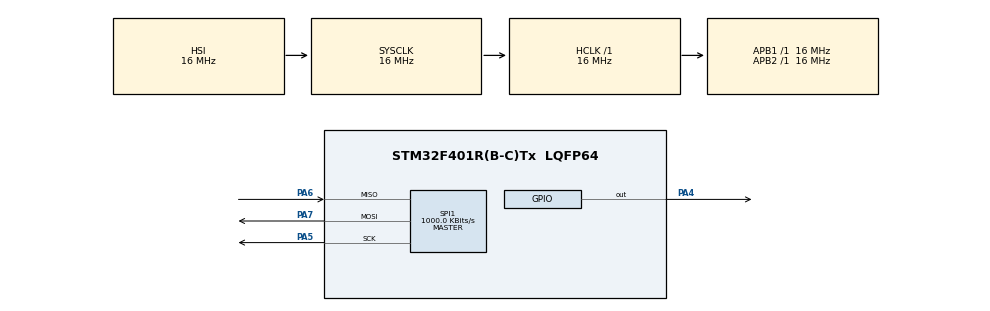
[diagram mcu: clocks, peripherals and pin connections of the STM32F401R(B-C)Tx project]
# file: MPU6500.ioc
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Mcu.Family=STM32F4
Mcu.Name=STM32F401R(B-C)Tx
Mcu.Package=LQFP64
NVIC.PriorityGroup=NVIC_PRIORITYGROUP_4
PA4.Signal=GPIO_Output
PA5.Mode=Full_Duplex_Master
PA5.Signal=SPI1_SCK
PA6.Mode=Full_Duplex_Master
PA6.Signal=SPI1_MISO
PA7.Mode=Full_Duplex_Master
PA7.Signal=SPI1_MOSI
ProjectManager.HeapSize=0x200
ProjectManager.StackSize=0x400
ProjectManager.TargetToolchain=STM32CubeIDE
RCC.AHBFreq_Value=16000000
RCC.APB1Freq_Value=16000000
RCC.APB2Freq_Value=16000000
RCC.CortexFreq_Value=16000000
RCC.HSE_VALUE=25000000
RCC.HSI_VALUE=16000000
RCC.LSE_VALUE=32768
RCC.SYSCLKFreq_VALUE=16000000
RCC.VCOOutputFreq_Value=192000000
SPI1.BaudRatePrescaler=SPI_BAUDRATEPRESCALER_16
SPI1.CalculateBaudRate=1000.0 KBits/s
SPI1.Direction=SPI_DIRECTION_2LINES
SPI1.Mode=SPI_MODE_MASTER
SPI1.VirtualType=VM_MASTER
board=custom

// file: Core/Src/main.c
/* USER CODE BEGIN Header */
/**
  ******************************************************************************
  * @file           : main.c
  * @brief          : Main program body
  ******************************************************************************
  * @attention
  *
  * Copyright (c) 2026 STMicroelectronics.
  * All rights reserved.
  *
  * This software is licensed under terms that can be found in the LICENSE file
  * in the root directory of this software component.
  * If no LICENSE file comes with this software, it is provided AS-IS.
  *
  ******************************************************************************
  */
/* USER CODE END Header */
#include "main.h"

/* USER CODE BEGIN Includes */
#include "MPU6500.h"
/* USER CODE END Includes */

SPI_HandleTypeDef hspi1;

/* USER CODE BEGIN PV */
float ax, ay, az;
float gx, gy, gz;
unsigned int flag=0;
uint8_t who;
/* USER CODE END PV */

void SystemClock_Config(void);
static void MX_GPIO_Init(void);
static void MX_SPI1_Init(void);

int main(void)
{

  /* MCU Configuration--------------------------------------------------------*/

  /* Reset of all peripherals, Initializes the Flash interface and the Systick. */
  HAL_Init();

  /* Configure the system clock */
  SystemClock_Config();

  /* Initialize all configured peripherals */
  MX_GPIO_Init();
  MX_SPI1_Init();
  /* USER CODE BEGIN 2 */
  HAL_GPIO_WritePin(GPIOA, GPIO_PIN_4, GPIO_PIN_SET); // CS HIGH
  HAL_Delay(100);

  MPU6500_Init();
  who = MPU6500_WhoAmI();

  if (who == 0x70)
  {
      flag = 1;   // ✅ sensor OK
  }
  else
  {
      flag = 0;   // ❌ error
  }

  HAL_Delay(500);

  /* USER CODE END 2 */

  /* Infinite loop */
  /* USER CODE BEGIN WHILE */
  while (1)
  {

	    MPU6500_Read_All(&ax, &ay, &az, &gx, &gy, &gz);

	    HAL_Delay(100);

    /* USER CODE END WHILE */

  }
}

void SystemClock_Config(void)
{
  RCC_OscInitTypeDef RCC_OscInitStruct = {0};
  RCC_ClkInitTypeDef RCC_ClkInitStruct = {0};

  /** Configure the main internal regulator output voltage
  */
  __HAL_RCC_PWR_CLK_ENABLE();
  __HAL_PWR_VOLTAGESCALING_CONFIG(PWR_REGULATOR_VOLTAGE_SCALE2);

  /** Initializes the RCC Oscillators according to the specified parameters
  * in the RCC_OscInitTypeDef structure.
  */
  RCC_OscInitStruct.OscillatorType = RCC_OSCILLATORTYPE_HSI;
  RCC_OscInitStruct.HSIState = RCC_HSI_ON;
  RCC_OscInitStruct.HSICalibrationValue = RCC_HSICALIBRATION_DEFAULT;
  RCC_OscInitStruct.PLL.PLLState = RCC_PLL_NONE;
  if (HAL_RCC_OscConfig(&RCC_OscInitStruct) != HAL_OK)
  {
    Error_Handler();
  }

  /** Initializes the CPU, AHB and APB buses clocks
  */
  RCC_ClkInitStruct.ClockType = RCC_CLOCKTYPE_HCLK|RCC_CLOCKTYPE_SYSCLK
                              |RCC_CLOCKTYPE_PCLK1|RCC_CLOCKTYPE_PCLK2;
  RCC_ClkInitStruct.SYSCLKSource = RCC_SYSCLKSOURCE_HSI;
  RCC_ClkInitStruct.AHBCLKDivider = RCC_SYSCLK_DIV1;
  RCC_ClkInitStruct.APB1CLKDivider = RCC_HCLK_DIV1;
  RCC_ClkInitStruct.APB2CLKDivider = RCC_HCLK_DIV1;

  if (HAL_RCC_ClockConfig(&RCC_ClkInitStruct, FLASH_LATENCY_0) != HAL_OK)
  {
    Error_Handler();
  }
}

static void MX_SPI1_Init(void)
{

  /* SPI1 parameter configuration*/
  hspi1.Instance = SPI1;
  hspi1.Init.Mode = SPI_MODE_MASTER;
  hspi1.Init.Direction = SPI_DIRECTION_2LINES;
  hspi1.Init.DataSize = SPI_DATASIZE_8BIT;
  hspi1.Init.CLKPolarity = SPI_POLARITY_LOW;
  hspi1.Init.CLKPhase = SPI_PHASE_1EDGE;
  hspi1.Init.NSS = SPI_NSS_SOFT;
  hspi1.Init.BaudRatePrescaler = SPI_BAUDRATEPRESCALER_16;
  hspi1.Init.FirstBit = SPI_FIRSTBIT_MSB;
  hspi1.Init.TIMode = SPI_TIMODE_DISABLE;
  hspi1.Init.CRCCalculation = SPI_CRCCALCULATION_DISABLE;
  hspi1.Init.CRCPolynomial = 10;
  if (HAL_SPI_Init(&hspi1) != HAL_OK)
  {
    Error_Handler();
  }

}

static void MX_GPIO_Init(void)
{
  GPIO_InitTypeDef GPIO_InitStruct = {0};

  /* GPIO Ports Clock Enable */
  __HAL_RCC_GPIOA_CLK_ENABLE();

  /*Configure GPIO pin Output Level */
  HAL_GPIO_WritePin(GPIOA, GPIO_PIN_4, GPIO_PIN_RESET);

  /*Configure GPIO pin : PA4 */
  GPIO_InitStruct.Pin = GPIO_PIN_4;
  GPIO_InitStruct.Mode = GPIO_MODE_OUTPUT_PP;
  GPIO_InitStruct.Pull = GPIO_NOPULL;
  GPIO_InitStruct.Speed = GPIO_SPEED_FREQ_LOW;
  HAL_GPIO_Init(GPIOA, &GPIO_InitStruct);

}

void Error_Handler(void)
{
  __disable_irq();
  while (1)
  {
  }
}
